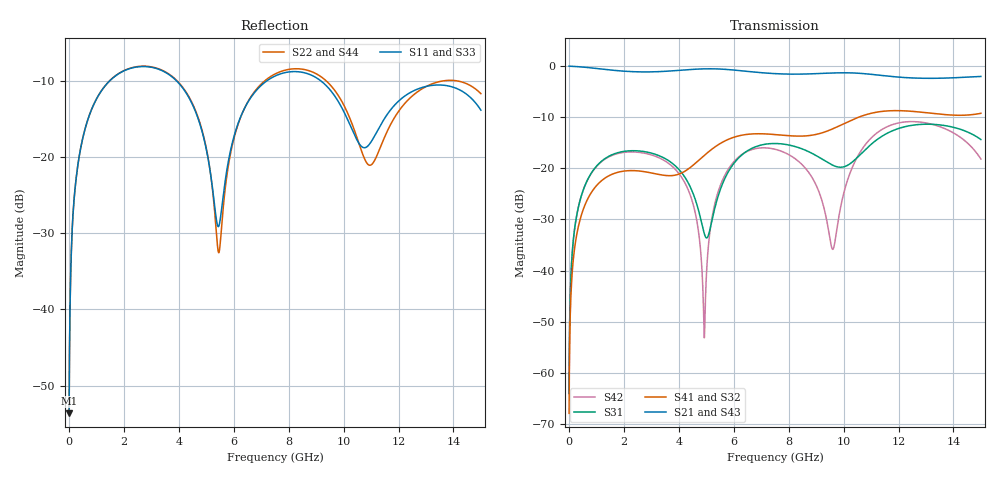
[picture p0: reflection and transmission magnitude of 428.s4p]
! Created with skrf 1.8.0 (http://scikit-rf.org).
# GHz S RI R 50.0
!freq ReS11 ImS11 ReS12 ImS12 ReS13 ImS13
! ReS14 ImS14
! ReS21 ImS21 ReS22 ImS22 ReS23 ImS23
! ReS24 ImS24
! ReS31 ImS31 ReS32 ImS32 ReS33 ImS33
! ReS34 ImS34
! ReS41 ImS41 ReS42 ImS42 ReS43 ImS43
! ReS44 ImS44
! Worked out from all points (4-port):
!   2499 points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, 5 MHz to 15 GHz, reference 50 ohm
!   strongest paths, dB at 5 MHz, 3.476 GHz, 7.19 GHz, 11.1 GHz, 15 GHz:
!     S21: 0.0, -1.0, -1.4, -1.7, -2.0
!     S43: 0.0, -1.0, -1.4, -1.7, -2.0
!     S41: -67.9, -21.4, -13.3, -9.1, -9.2
!     S32: -67.9, -21.4, -13.3, -9.1, -9.3
!     S31: -64.1, -18.0, -15.2, -14.9, -14.4
!     S42: -64.1, -18.5, -16.0, -13.6, -18.2
!   lowest |S11| = -53.7 dB at 5 MHz (marker M1), VSWR 1.00, Z = 50.2 + j0.126 ohm
!   |S11| at or under -10 dB: start of sweep to 1.464 GHz; 3.936 GHz to 7.179 GHz (3.243 GHz wide, 58.4 % of centre); 9.195 GHz to end of sweep
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0.005  0.00165 0.00126  0.9983 -0.00321  8.18e-05 0.000621  -7.96e-05 -0.000395
       0.9983 -0.00321  0.00165 0.00126  -7.96e-05 -0.000395  8.17e-05 0.000621
       8.18e-05 0.000621  -7.96e-05 -0.000395  0.00165 0.00126  0.9983 -0.00321
       -7.96e-05 -0.000395  8.17e-05 0.000621  0.9983 -0.00321  0.00165 0.00126
0.3126303  0.0242 0.0828  0.9669 -0.1999  0.0109 0.0368  -0.00892 -0.0232
           0.9669 -0.1999  0.0243 0.0828  -0.00891 -0.0232  0.0104 0.0369
           0.0109 0.0368  -0.00891 -0.0232  0.0242 0.0828  0.9669 -0.1999
           -0.00892 -0.0232  0.0104 0.0369  0.9669 -0.1999  0.0243 0.0828
1.469362  0.2563 0.1864  0.5798 -0.712  0.1189 0.0574  -0.0843 -0.0112
          0.5798 -0.712  0.2582 0.1852  -0.0843 -0.0113  0.1131 0.0647
          0.1189 0.0574  -0.0843 -0.0113  0.2564 0.1864  0.5797 -0.7121
          -0.0843 -0.0112  0.1131 0.0647  0.5797 -0.7121  0.2582 0.1852
4.927053  0.0683 -0.1106  -0.8735 -0.3471  -0.0199 -0.0115  -0.0448 0.1261
          -0.8735 -0.3471  0.0587 -0.1184  -0.0457 0.1257  0.00219 0.000231
          -0.0199 -0.0115  -0.0457 0.1257  0.0673 -0.1116  -0.8734 -0.3471
          -0.0448 0.1261  0.00219 0.000231  -0.8734 -0.3471  0.06 -0.1185
5.833681  0.0598 0.0809  -0.9085 0.1652  0.0395 0.0872  0.0489 0.1875
          -0.9085 0.1652  0.0487 0.0816  0.0477 0.1879  0.0456 0.0904
          0.0395 0.0872  0.0477 0.1879  0.0581 0.0809  -0.9085 0.1654
          0.0489 0.1875  0.0456 0.0904  -0.9085 0.1654  0.0503 0.0807
8.422259  0.3639 -0.0227  0.0108 0.8348  0.1018 -0.1201  0.2 -0.0522
          0.0108 0.8348  0.3801 -0.0355  0.2003 -0.0503  0.1027 -0.0474
          0.1018 -0.1201  0.2003 -0.0503  0.365 -0.0216  0.0115 0.8344
          0.2 -0.0522  0.1027 -0.0474  0.0115 0.8344  0.3809 -0.0375
15  0.1713 -0.1117  -0.3755 -0.6973  0.0366 -0.188  -0.2773 0.2058
    -0.3755 -0.6973  0.2088 -0.1593  -0.2807 0.1999  0.1053 -0.0645
    0.0366 -0.188  -0.2807 0.1999  0.172 -0.1181  -0.3778 -0.6949
    -0.2773 0.2058  0.1053 -0.0645  -0.3778 -0.6949  0.2122 -0.159
